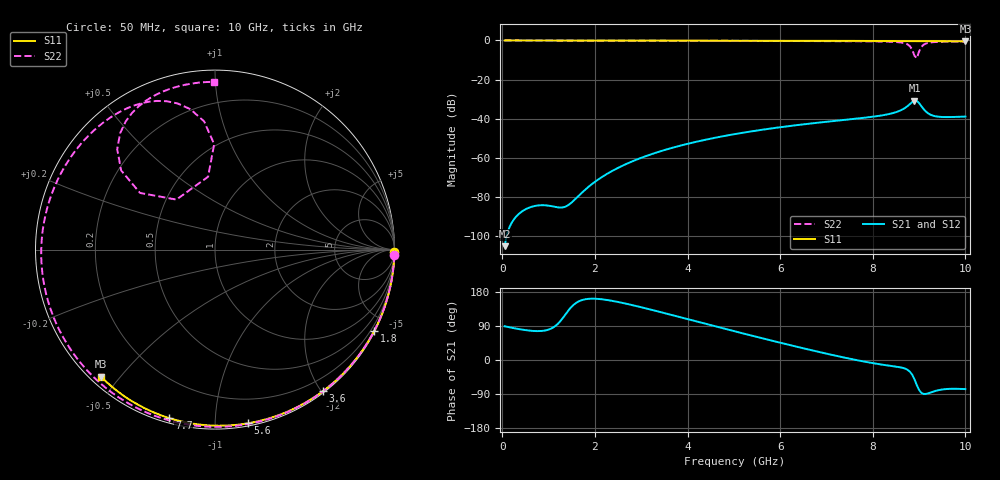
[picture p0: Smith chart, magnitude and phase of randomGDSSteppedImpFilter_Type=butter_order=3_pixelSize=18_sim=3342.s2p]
! freq	dB(S11)	phase(S11)	dB(S12)	phase(S12)
!  dB(S21)	phase(S21)	dB(S22)	phase(S22)
!S-par simulation data
#  GHz  S  DB  R 50
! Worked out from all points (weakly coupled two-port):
!   200 points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, 50 MHz to 10 GHz, reference 50 ohm
!   highest |S21| = -30.81 dB at 8.9 GHz (marker M1); lowest = -105.2 dB at 50 MHz (marker M2)
!   lowest |S11| = -0.4 dB at 10 GHz (marker M3), VSWR 39.60, Z = 1.51 - j22.3 ohm
!   |S11| at or under -10 dB: nowhere
!   |S22| runs from -9.1 to 0.0 dB; largest |S21 - S12| = 0
!   S11 on the Smith chart (normalised r, x): 50 MHz: open; 1.8 GHz: 0.04, -4.17; 3.6 GHz: 0.02, -2.02; 5.6 GHz: 0.02, -1.21; 7.7 GHz: 0.02, -0.76; 10 GHz: 0.03, -0.45
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0.05  -0.00 -0.8  -105.25 89.0  -105.25 89.0  -0.00 -1.8
0.75  -0.01 -11.3  -84.49 76.2  -84.49 76.2  -0.03 -26.2
1.6  -0.03 -24.0  -80.61 151.2  -80.61 151.2  -0.07 -54.7
1.75  -0.03 -26.2  -77.21 159.1  -77.21 159.1  -0.07 -59.6
1.8  -0.03 -26.9  -76.15 160.4  -76.15 160.4  -0.07 -61.2
2.45  -0.05 -36.4  -65.79 154.3  -65.79 154.3  -0.10 -81.2
3.4  -0.07 -49.9  -56.81 126.9  -56.81 126.9  -0.13 -108.3
3.6  -0.07 -52.7  -55.40 120.7  -55.40 120.7  -0.14 -113.7
5.05  -0.11 -72.2  -47.79 74.8  -47.79 74.8  -0.20 -150.6
5.6  -0.13 -79.3  -45.72 57.7  -45.72 57.7  -0.24 -163.9
6.7  -0.18 -93.1  -42.38 25.1  -42.38 25.1  -0.31 169.4
7.7  -0.24 -105.2  -39.86 -1.5  -39.86 -1.5  -0.42 143.6
8.35  -0.29 -112.8  -37.65 -14.9  -37.65 -14.9  -0.63 123.1
8.75  -0.32 -117.4  -33.62 -25.8  -33.62 -25.8  -2.00 100.0
8.85  -0.32 -118.6  -31.57 -38.6  -31.57 -38.6  -4.62 90.5
8.9  -0.33 -119.2  -30.81 -50.9  -30.81 -50.9  -7.79 95.4
8.95  -0.33 -119.8  -30.91 -66.1  -30.91 -66.1  -9.07 127.7
9  -0.34 -120.3  -32.04 -79.2  -32.04 -79.2  -5.62 142.9
9.1  -0.35 -121.5  -35.19 -89.6  -35.19 -89.6  -2.15 134.2
9.2  -0.36 -122.7  -37.37 -87.9  -37.37 -87.9  -1.21 124.9
9.4  -0.38 -125.0  -38.97 -80.1  -38.97 -80.1  -0.73 112.9
10  -0.44 -131.9  -38.94 -76.9  -38.94 -76.9  -0.59 90.2
